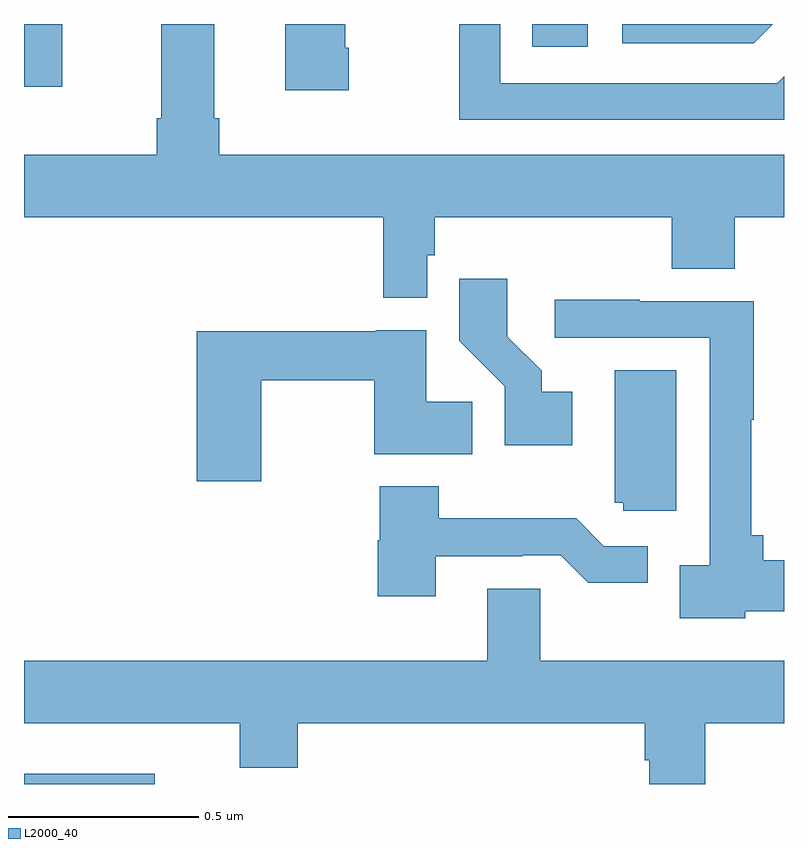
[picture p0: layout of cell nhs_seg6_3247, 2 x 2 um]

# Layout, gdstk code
import gdstk
lib = gdstk.Library(unit=1e-6, precision=1e-09)
def R(c, l, rs):  # rectangles x0, y0, x1, y1
    for r in rs: c.add(gdstk.rectangle(r[:2], r[2:], *l))
def P(c, l, *ps):  # polygons
    for p in ps: c.add(gdstk.Polygon(p, *l))
L2000_40 = (2000, 40)

nhs_seg6_3247 = lib.new_cell('nhs_seg6_3247')
R(nhs_seg6_3247, L2000_40, [(154,956.5,154.344,956.527), (154,958.335,154.1,958.5), (155.338,958.44,155.484,958.5)])
P(nhs_seg6_3247, L2000_40, [(155.971,958.5),(155.574,958.5),(155.574,958.449),(155.92,958.449)],
  [(155.061,957.891),(155.081,957.891),(155.081,957.992),(155.705,957.992),(155.705,957.856),(155.87,957.856),(155.87,957.992),(156,957.992),(156,958.156),(154.514,958.156),(154.514,958.252),(154.501,958.252),(154.501,958.5),(154.361,958.5),(154.361,958.252),(154.349,958.252),(154.349,958.156),(154,958.156),(154,957.992),(154.945,957.992),(154.945,957.779),(155.061,957.779)],
  [(156,958.362),(155.982,958.344),(155.253,958.344),(155.253,958.5),(155.145,958.5),(155.145,958.248),(156,958.248)],
  [(154.854,958.438),(154.846,958.438),(154.846,958.5),(154.688,958.5),(154.688,958.326),(154.854,958.326)],
  [(155.443,957.532),(155.362,957.532),(155.362,957.587),(155.272,957.677),(155.272,957.829),(155.146,957.829),(155.146,957.666),(155.265,957.547),(155.265,957.392),(155.443,957.392)],
  [(155.898,956.954),(156,956.954),(156,957.089),(155.946,957.089),(155.946,957.154),(155.914,957.154),(155.914,957.459),(155.921,957.459),(155.921,957.771),(155.621,957.771),(155.621,957.774),(155.397,957.774),(155.397,957.675),(155.805,957.675),(155.805,957.076),(155.726,957.076),(155.726,956.936),(155.898,956.936)],
  [(154.624,957.562),(154.922,957.562),(154.922,957.368),(155.18,957.368),(155.18,957.506),(155.059,957.506),(155.059,957.694),(154.926,957.694),(154.926,957.691),(154.454,957.691),(154.454,957.297),(154.624,957.297)],
  [(155.716,957.589),(155.555,957.589),(155.555,957.24),(155.577,957.24),(155.577,957.219),(155.716,957.219)],
  [(155.083,957.099),(155.312,957.099),(155.312,957.102),(155.412,957.102),(155.485,957.029),(155.641,957.029),(155.641,957.126),(155.526,957.126),(155.453,957.199),(155.091,957.199),(155.091,957.283),(154.936,957.283),(154.936,957.141),(154.931,957.141),(154.931,956.994),(155.083,956.994)],
  [(155.793,956.66),(156,956.66),(156,956.824),(155.358,956.824),(155.358,957.014),(155.219,957.014),(155.219,956.824),(154,956.824),(154,956.66),(154.568,956.66),(154.568,956.543),(154.721,956.543),(154.721,956.66),(155.633,956.66),(155.633,956.562),(155.645,956.562),(155.645,956.5),(155.793,956.5)])

lib.write_gds('nhs_seg6_3247.gds')
